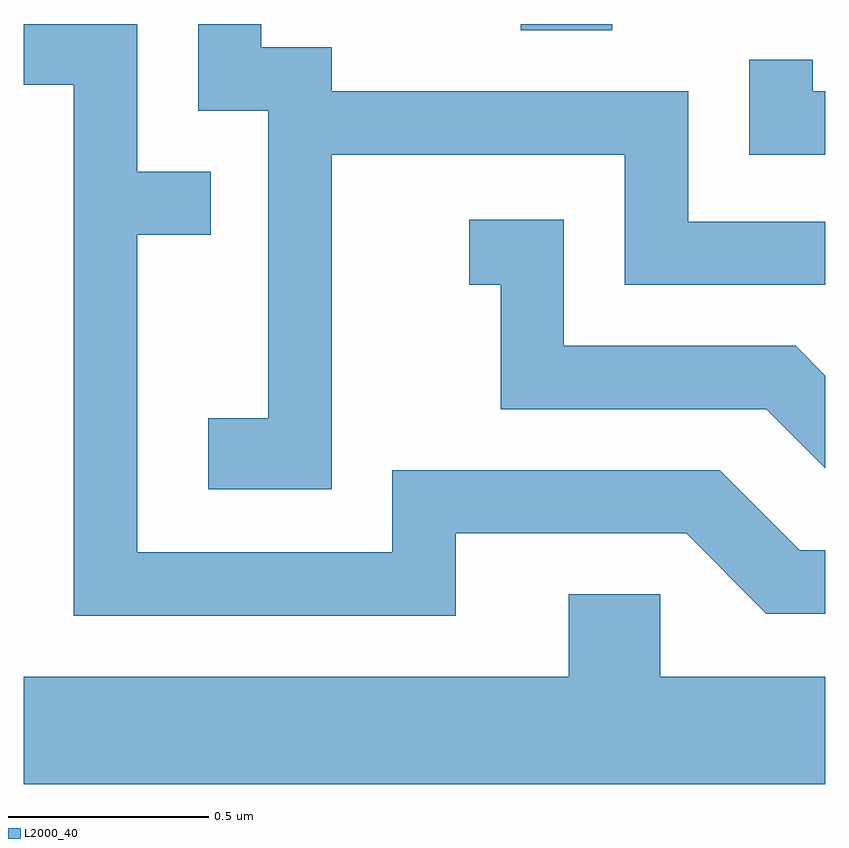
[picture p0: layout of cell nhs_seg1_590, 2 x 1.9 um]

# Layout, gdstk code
import gdstk
lib = gdstk.Library(unit=1e-6, precision=1e-09)
def R(c, l, rs):  # rectangles x0, y0, x1, y1
    for r in rs: c.add(gdstk.rectangle(r[:2], r[2:], *l))
def P(c, l, *ps):  # polygons
    for p in ps: c.add(gdstk.Polygon(p, *l))
L2000_40 = (2000, 40)

nhs_seg1_590 = lib.new_cell('nhs_seg1_590')
R(nhs_seg1_590, L2000_40, [(190.851,883.696,191.079,883.712)])
P(nhs_seg1_590, L2000_40, [(190.689,882.441),(191.264,882.441),(191.464,882.241),(191.611,882.241),(191.611,882.399),(191.547,882.399),(191.347,882.599),(190.531,882.599),(190.531,882.394),(189.894,882.394),(189.894,883.186),(190.078,883.186),(190.078,883.344),(189.894,883.344),(189.894,883.712),(189.611,883.712),(189.611,883.561),(189.736,883.561),(189.736,882.236),(190.689,882.236)],
  [(190.379,883.386),(191.111,883.386),(191.111,883.061),(191.611,883.061),(191.611,883.219),(191.269,883.219),(191.269,883.544),(190.379,883.544),(190.379,883.654),(190.204,883.654),(190.204,883.712),(190.046,883.712),(190.046,883.496),(190.221,883.496),(190.221,882.729),(190.071,882.729),(190.071,882.551),(190.379,882.551)],
  [(191.611,883.544),(191.579,883.544),(191.579,883.623),(191.421,883.623),(191.421,883.386),(191.611,883.386)],
  [(191.611,882.835),(191.537,882.909),(190.959,882.909),(190.959,883.224),(190.723,883.224),(190.723,883.061),(190.801,883.061),(190.801,882.751),(191.464,882.751),(191.611,882.604)],
  [(191.611,882.084),(191.199,882.084),(191.199,882.289),(190.971,882.289),(190.971,882.084),(189.611,882.084),(189.611,881.816),(191.611,881.816)])

lib.write_gds('nhs_seg1_590.gds')
